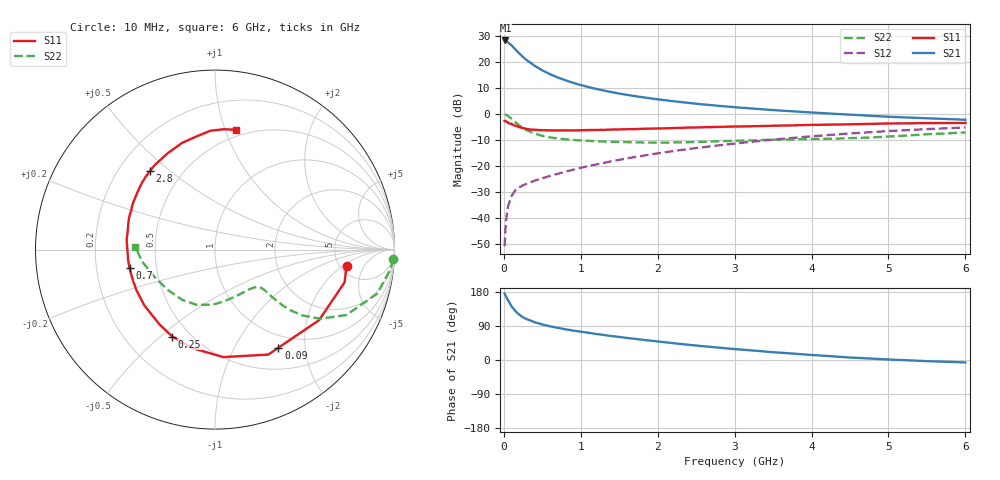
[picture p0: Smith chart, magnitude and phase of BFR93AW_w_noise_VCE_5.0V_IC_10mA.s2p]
! Infineon Technologies  Discrete & RF Semiconductors
! BFR93AW
! VCE =  5.0 V,  IC =  10 mA
! Common Emitter S-Parameters:  Jan 2017
# GHz  S  MA  R  50
!  f  S11  S21  S12  S22
! GHz  MAG  ANG  MAG  ANG  MAG  ANG  MAG  ANG
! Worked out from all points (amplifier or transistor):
!   77 points, 10 MHz to 6 GHz, reference 50 ohm
!   highest |S21| = 28.3 dB at 20 MHz (marker M1)
!   |S21| within 3 dB of that: start of sweep to 135.6 MHz
!   unconditionally stable (mu >= 1): 852.2 MHz to 2.114 GHz
!   at 130 MHz: K = 0.30, MSG = 27.8 dB, |S12| = -30.1 dB
!   at 2.2 GHz: K = 0.99, MSG = 9.6 dB, |S12| = -14.2 dB
!   at 6 GHz: K = 0.87, MSG = 1.5 dB, |S12| = -5.1 dB
!   lowest NFmin = 1.25 dB at 450 MHz
!   S11 on the Smith chart (normalised r, x): 10 MHz: 5.68, -2.31; 90 MHz: 0.80, -1.53; 250 MHz: 0.40, -0.55; 700 MHz: 0.35, -0.10; 2.8 GHz: 0.33, +0.43; 6 GHz: 0.44, +1.09
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0.01  0.7385 -7.2  25.96 175.5  0.0029 89.0  0.9933 -3.1
0.02  0.7446 -14.2  26.09 171.3  0.0058 85.4  0.9841 -6.4
0.05  0.7006 -34.1  24.51 158.8  0.0156 73.0  0.9361 -15.2
0.09  0.6508 -57.1  21.58 145.5  0.0244 65.8  0.8381 -24.0
0.1  0.6559 -63.1  21.06 141.6  0.0266 64.8  0.8171 -26.5
0.15  0.6006 -85.6  17.56 128.9  0.0345 56.5  0.7002 -33.4
0.2  0.5633 -102.9  14.71 119.7  0.0391 53.8  0.6085 -37.0
0.25  0.5396 -116.2  12.54 112.6  0.043 51.5  0.5405 -38.8
0.3  0.5189 -126.7  10.84 107.5  0.0461 51.4  0.4885 -39.5
0.4  0.5016 -141.7  8.502 99.5  0.0526 52.4  0.4233 -39.7
0.5  0.4929 -152.7  6.943 93.7  0.0586 53.9  0.383 -39.5
0.6  0.4877 -161.0  5.877 88.9  0.065 55.8  0.358 -39.3
0.7  0.4873 -167.6  5.076 84.9  0.0712 57.9  0.3408 -39.4
0.9  0.4871 -178.4  3.999 77.7  0.0855 60.6  0.3197 -40.7
1.1  0.4952 173.5  3.319 71.7  0.1005 62.7  0.3069 -43.2
1.5  0.5093 160.4  2.487 60.9  0.1323 64.4  0.291 -50.8
2.1  0.5346 144.7  1.85 46.7  0.1853 63.8  0.2844 -67.3
2.8  0.5688 129.5  1.442 32.5  0.2518 60.0  0.302 -88.8
3.1  0.5813 123.5  1.326 27.3  0.2821 57.5  0.3099 -97.4
4.1  0.6243 105.6  1.056 12.0  0.385 47.8  0.3345 -126.5
5.1  0.6637 91.0  0.879 0.5  0.4811 36.2  0.3779 -159.7
6  0.6775 80.0  0.781 -6.5  0.5542 25.2  0.4448 177.8
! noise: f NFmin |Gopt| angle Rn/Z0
0.45  1.25  0.15  94  0.13
0.9  1.55  0.24  150  0.14
1.9  2.61  0.47  -148  0.18
2.4  3.24  0.54  -131  0.36
